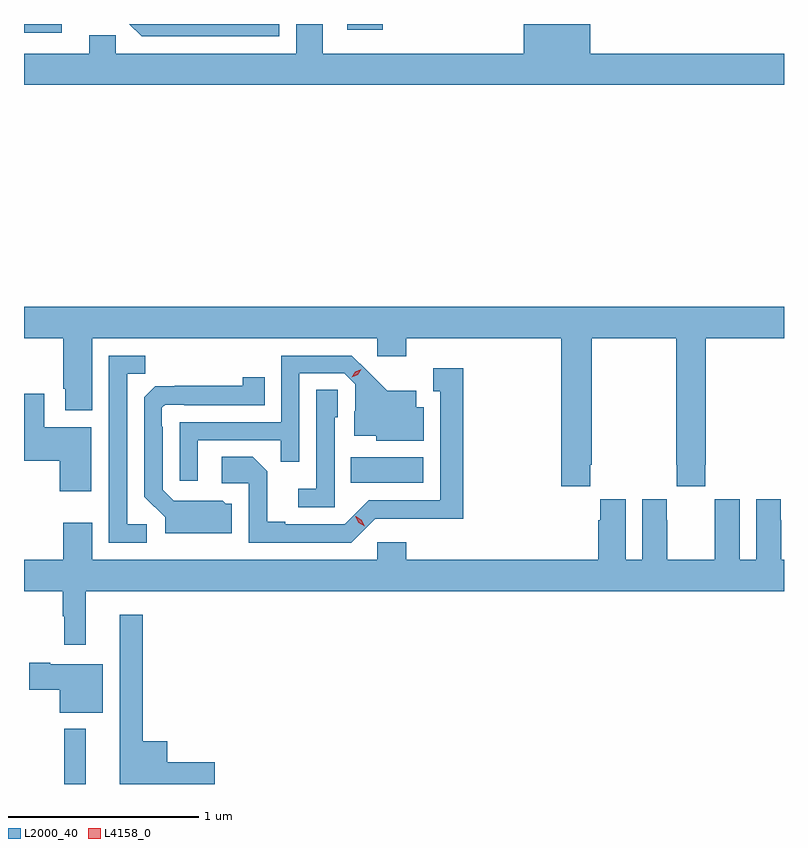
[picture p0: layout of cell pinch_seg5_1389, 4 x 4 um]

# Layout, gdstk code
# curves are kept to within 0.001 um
import gdstk
lib = gdstk.Library(unit=1e-6, precision=1e-09)
def R(c, l, rs):  # rectangles x0, y0, x1, y1
    for r in rs: c.add(gdstk.rectangle(r[:2], r[2:], *l))
def P(c, l, *ps):  # polygons
    for p in ps: c.add(gdstk.Polygon(p, *l))
L2000_40 = (2000, 40)
L4158_0 = (4158, 0)

pinch_seg5_1389 = lib.new_cell('pinch_seg5_1389')
R(pinch_seg5_1389, L2000_40, [(166.717,906.361,166.831,906.652), (168.226,907.946,168.607,908.08), (166.506,910.314,166.705,910.361), (168.207,910.332,168.395,910.361)])
P(pinch_seg5_1389, L2000_40, [(170.506,910.204),(169.486,910.204),(169.486,910.361),(169.136,910.361),(169.136,910.204),(168.079,910.204),(168.079,910.361),(167.939,910.361),(167.939,910.204),(166.989,910.204),(166.989,910.302),(166.85,910.302),(166.85,910.204),(166.506,910.204),(166.506,910.04),(170.506,910.04)],
  [(167.85,910.361),(167.061,910.361),(167.126,910.296),(167.85,910.296)],
  [(169.487,908.041),(169.494,908.041),(169.494,908.708),(169.939,908.708),(169.939,908.041),(169.941,908.041),(169.941,907.929),(170.091,907.929),(170.091,908.041),(170.094,908.041),(170.094,908.708),(170.506,908.708),(170.506,908.872),(166.506,908.872),(166.506,908.708),(166.712,908.708),(166.712,908.44),(166.724,908.44),(166.724,908.328),(166.864,908.328),(166.864,908.708),(168.366,908.708),(168.366,908.613),(168.518,908.613),(168.518,908.708),(169.334,908.708),(169.334,907.929),(169.487,907.929)],
  [(167.421,908.169),(167.857,908.169),(167.857,908.056),(167.955,908.056),(167.955,908.523),(168.192,908.523),(168.249,908.466),(168.249,908.324),(168.245,908.324),(168.245,908.195),(168.36,908.195),(168.36,908.168),(168.61,908.168),(168.61,908.344),(168.571,908.344),(168.571,908.431),(168.419,908.431),(168.232,908.616),(167.859,908.616),(167.859,908.265),(167.325,908.265),(167.325,907.956),(167.421,907.956)],
  [(167.152,907.728),(167.049,907.728),(167.049,908.521),(167.145,908.521),(167.145,908.616),(166.953,908.616),(166.953,907.632),(167.152,907.632)],
  [(168.354,907.758),(168.817,907.757),(168.817,908.548),(168.659,908.548),(168.659,908.427),(168.698,908.427),(168.698,907.854),(168.321,907.854),(168.195,907.728),(167.881,907.728),(167.881,907.741),(167.787,907.741),(167.787,908.008),(167.711,908.084),(167.547,908.084),(167.547,907.944),(167.688,907.944),(167.688,907.632),(168.228,907.632)],
  [(167.599,907.836),(167.568,907.836),(167.552,907.852),(167.295,907.851),(167.235,907.911),(167.235,908.24),(167.232,908.24),(167.232,908.34),(167.25,908.358),(167.35,908.358),(167.35,908.355),(167.774,908.355),(167.774,908.503),(167.656,908.503),(167.656,908.456),(167.198,908.455),(167.139,908.396),(167.139,907.874),(167.249,907.764),(167.249,907.682),(167.599,907.682)],
  [(168.141,908.292),(168.156,908.292),(168.156,908.435),(168.045,908.435),(168.045,907.915),(167.949,907.915),(167.949,907.818),(168.141,907.818)],
  [(166.861,908.239),(166.612,908.239),(166.612,908.416),(166.506,908.416),(166.506,908.063),(166.694,908.063),(166.694,907.902),(166.861,907.902)],
  [(166.831,907.376),(170.506,907.376),(170.506,907.54),(170.491,907.54),(170.491,907.748),(170.49,907.748),(170.49,907.861),(170.36,907.861),(170.36,907.54),(170.272,907.54),(170.272,907.861),(170.142,907.861),(170.142,907.748),(170.141,907.748),(170.141,907.54),(169.891,907.54),(169.891,907.748),(169.89,907.748),(169.89,907.861),(169.76,907.861),(169.76,907.54),(169.672,907.54),(169.672,907.861),(169.538,907.861),(169.538,907.748),(169.529,907.748),(169.529,907.54),(168.518,907.54),(168.518,907.633),(168.366,907.633),(168.366,907.54),(166.864,907.54),(166.864,907.735),(166.712,907.735),(166.712,907.54),(166.506,907.54),(166.506,907.376),(166.71,907.376),(166.71,907.244),(166.717,907.244),(166.717,907.095),(166.831,907.095)],
  [(167.509,906.476),(167.26,906.476),(167.26,906.586),(167.131,906.586),(167.131,907.252),(167.009,907.252),(167.009,906.361),(167.509,906.361)],
  [(166.921,906.991),(166.645,906.991),(166.645,906.999),(166.533,906.999),(166.533,906.857),(166.694,906.857),(166.694,906.737),(166.921,906.737)])
P(pinch_seg5_1389, L4158_0, [(168.231,908.501),(168.231,908.501),(168.249,908.53),(168.28,908.545),(168.28,908.545),(168.28,908.545),(168.262,908.515),(168.231,908.501)],
  [(168.299,907.718),(168.267,907.737),(168.25,907.77),(168.25,907.77),(168.251,907.77),(168.282,907.751),(168.299,907.718),(168.299,907.718)])

lib.write_gds('pinch_seg5_1389.gds')
